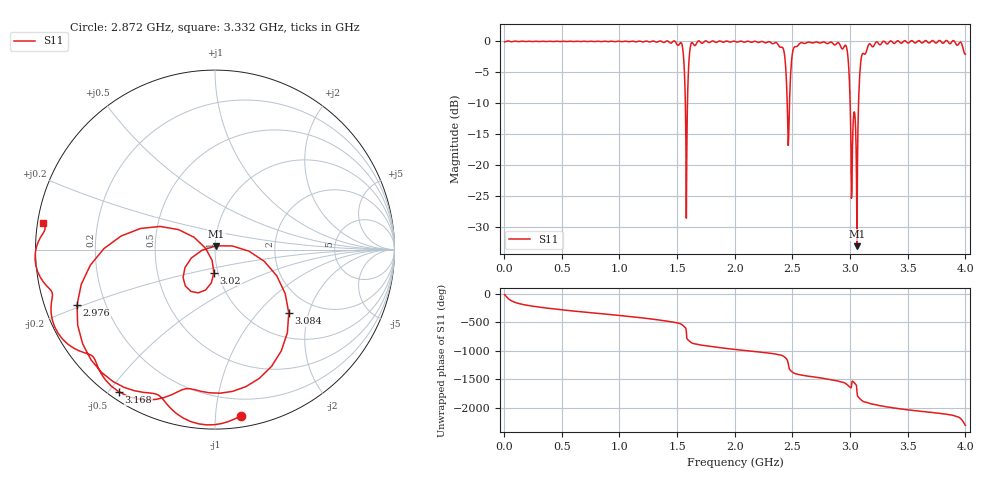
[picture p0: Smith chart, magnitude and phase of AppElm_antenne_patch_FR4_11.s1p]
! TOUCHSTONE file generated by CST MICROWAVE STUDIO
! Date and time: Tue Jun 14 13:48:59 2022
! Project name: AppElm_antenne_patch_FR4.cst
! Parameters = {L=45; W=58.5; e=0.035; h=1.6; lambda=0.190476; ls=120; w0=2.54; w1=0.847; ws=120; y0=18; y1=29.75}
! Header version: 2018
! Port assignment regex: !\s*Touchstone port\s*([0-9]+)\s*=\s*(CST MWS port|CST DS port)\s*([0-9]+|Zmin|Zmax)\s*\(\"(.*)\"\)(\s*mode\s*([0-9]+))?.*
! Touchstone port assignment:
! Touchstone port 1 = CST MWS port 1 ("")
# GHz S MA R 50
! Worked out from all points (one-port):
!   1000 points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, 4 MHz to 4 GHz, reference 50 ohm
!   lowest |S11| = -33.2 dB at 3.06 GHz (marker M1), VSWR 1.04, Z = 50.6 + j2.12 ohm
!   |S11| at or under -10 dB: 1.571 GHz to 1.59 GHz (18.64 MHz wide, 1.18 % of centre); 2.455 GHz to 2.475 GHz (20.16 MHz wide, 0.818 % of centre); 3.001 GHz to 3.074 GHz (73.07 MHz wide, 2.41 % of centre)
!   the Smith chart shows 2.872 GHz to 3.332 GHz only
!   S11 on the Smith chart (normalised r, x): 2.872 GHz: 0.07, -1.17; 2.976 GHz: 0.10, -0.19; 3.02 GHz: 0.96, -0.25; 3.084 GHz: 1.50, -1.50; 3.168 GHz: 0.03, -0.53; 3.332 GHz: 0.02, +0.08
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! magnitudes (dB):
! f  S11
! 4 MHz  -0.1
! 504 MHz  0.0
! 1.004 GHz  0.0
! 1.504 GHz  -0.6
! 1.544 GHz  -0.6
! 1.564 GHz  -5.3
! 1.58 GHz  -28.6
! 1.596 GHz  -5.8
! 1.612 GHz  -1.2
! 1.632 GHz  -0.2
! 2.004 GHz  0.0
! 2.404 GHz  -0.9
! 2.428 GHz  -1.8
! 2.464 GHz  -16.9
! 2.504 GHz  -1.5
! 2.576 GHz  -0.2
! 2.872 GHz  -0.5
! 2.976 GHz  -1.6
! 3.004 GHz  -12.7
! 3.02 GHz  -17.8
! 3.06 GHz  -33.2
! 3.076 GHz  -8.5
! 3.084 GHz  -5.3
! 3.104 GHz  -2.1
! 3.168 GHz  -0.4
! 3.332 GHz  -0.3
! 3.504 GHz  -0.3
! 4 GHz  -2.1
